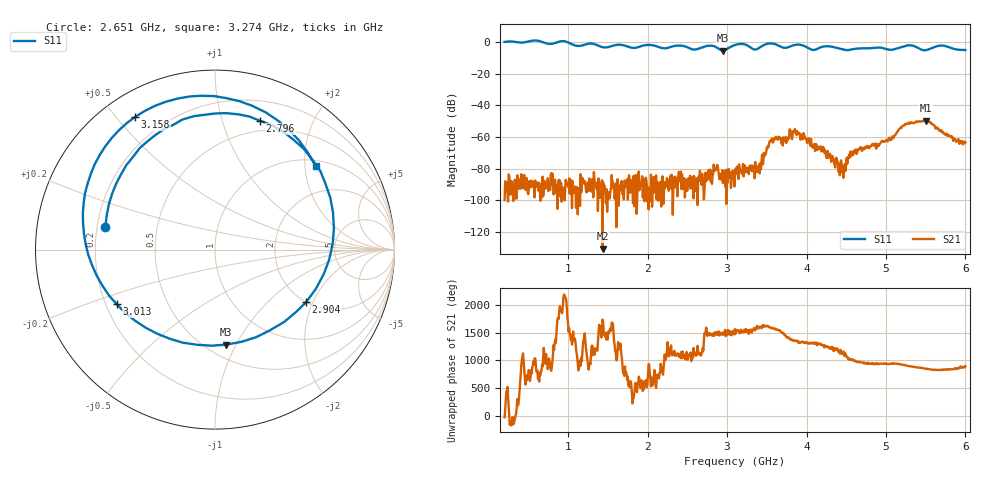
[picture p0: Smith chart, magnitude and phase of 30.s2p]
! NanoVNA-App
! Date: 2024-06-25 16:11:51
! Start: 200MHz Stop: 6GHz Points: 801
! S-Parameter data: F S11 S21 S12 S22
# Hz S RI R 50
!  Frequency  S11_Real  S11_Imag  S21_Real  S21_Imag  S12_Real  S12_Imag  S22_Real  S22_Imag
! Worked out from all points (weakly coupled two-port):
!   801 points, 200 MHz to 6 GHz, reference 50 ohm
!   highest |S21| = -49.85 dB at 5.5 GHz (marker M1); lowest = -130.7 dB at 1.433 GHz (marker M2)
!   lowest |S11| = -5.5 dB at 2.948 GHz (marker M3), VSWR 3.28, Z = 30.9 - j45.6 ohm
!   |S11| at or under -10 dB: nowhere
!   S12 and S22 are empty: the file has one direction only
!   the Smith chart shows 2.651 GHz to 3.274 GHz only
!   S11 on the Smith chart (normalised r, x): 2.651 GHz: 0.23, +0.10; 2.796 GHz: 0.39, +1.33; 2.904 GHz: 2.00, -1.79; 3.013 GHz: 0.24, -0.24; 3.158 GHz: 0.10, +0.56; 3.274 GHz: 1.14, +2.28
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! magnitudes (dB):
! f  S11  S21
! 200 MHz  0.0  -100.0
! 1.171 GHz  -2.3  -90.6
! 1.433 GHz  -3.3  -130.7
! 2.136 GHz  -3.1  -100.4
! 2.651 GHz  -4.1  -87.6
! 2.796 GHz  -2.4  -88.2
! 2.904 GHz  -4.6  -86.8
! 2.948 GHz  -5.5  -89.1
! 3.013 GHz  -4.1  -84.4
! 3.1 GHz  -1.9  -82.8
! 3.158 GHz  -1.3  -79.7
! 3.274 GHz  -2.7  -83.6
! 3.405 GHz  -3.8  -77.3
! 3.622 GHz  -1.7  -60.3
! 3.861 GHz  -1.8  -56.6
! 4.072 GHz  -5.0  -66.5
! 4.47 GHz  -4.9  -81.0
! 4.593 GHz  -4.5  -68.8
! 5.036 GHz  -4.9  -60.9
! 5.239 GHz  -2.5  -52.6
! 5.5 GHz  -5.2  -49.8
! 6 GHz  -5.1  -63.4
